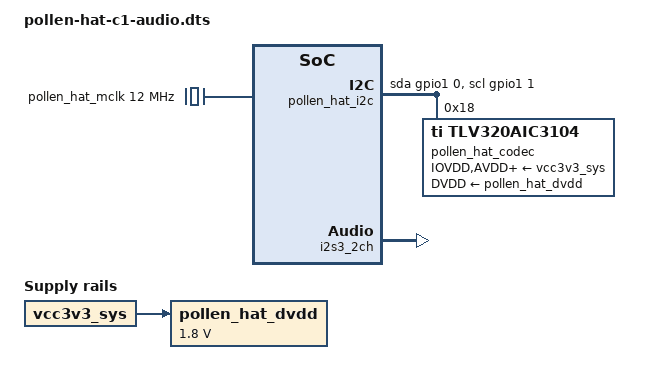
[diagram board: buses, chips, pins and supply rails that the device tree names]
/dts-v1/;
/plugin/;

/* Pollen C1 production schematic, direct stacking on ZERO 3W V1.12.
 * Software I2C: physical pins 3/5. I2S3-M0: 12/35/38/40.
 * Codec MCLK comes from HAT Y1 (12 MHz), not ZERO pin 13.
 */
/ {
    metadata {
        title = "Pollen Robot HAT C1 audio (software I2C + I2S3-M0)";
        compatible = "radxa,zero3";
        category = "audio";
        exclusive = "GPIO1_A0", "GPIO1_A1", "GPIO3_A3", "GPIO3_A4",
                    "GPIO3_A5", "GPIO3_A6", "i2s3_2ch", "i2c3";
        description = "TLV320AIC3104 at 0x18, fixed local 12 MHz MCLK.";
    };

    fragment@0 {
        target = <&pinctrl>;
        __overlay__ {
            pollen-hat {
                pollen_hat_i2c_pins: i2c-pins {
                    rockchip,pins = <1 0 0 &pcfg_pull_up>,
                                    <1 1 0 &pcfg_pull_up>;
                };
            };
        };
    };

    fragment@1 {
        target-path = "/";
        __overlay__ {
            pollen_hat_mclk: pollen-hat-mclk {
                compatible = "fixed-clock";
                #clock-cells = <0>;
                clock-frequency = <12000000>;
            };

            pollen_hat_dvdd: pollen-hat-dvdd {
                compatible = "regulator-fixed";
                regulator-name = "pollen-hat-1v8";
                regulator-min-microvolt = <1800000>;
                regulator-max-microvolt = <1800000>;
                vin-supply = <&vcc3v3_sys>;
                regulator-always-on;
            };

            pollen_hat_i2c: i2c-gpio-pollen-hat {
                compatible = "i2c-gpio";
                #address-cells = <1>;
                #size-cells = <0>;
                pinctrl-names = "default";
                pinctrl-0 = <&pollen_hat_i2c_pins>;
                /* 6 = active-high, single-ended, open-drain. */
                sda-gpios = <&gpio1 0 6>;
                scl-gpios = <&gpio1 1 6>;
                i2c-gpio,delay-us = <10>;
                i2c-gpio,timeout-ms = <100>;
                status = "okay";

                pollen_hat_codec: codec@18 {
                    compatible = "ti,tlv320aic3104";
                    reg = <0x18>;
                    #sound-dai-cells = <0>;
                    clocks = <&pollen_hat_mclk>;
                    IOVDD-supply = <&vcc3v3_sys>;
                    AVDD-supply = <&vcc3v3_sys>;
                    DRVDD-supply = <&vcc3v3_sys>;
                    DVDD-supply = <&pollen_hat_dvdd>;
                    /* External mic bias is provided by C1 R22/R23, not MICBIAS.
                     * RESET is pulled high by C1 R6; driver uses soft reset.
                     */
                    status = "okay";
                };
            };

            pollen-hat-sound {
                compatible = "simple-audio-card";
                simple-audio-card,name = "PollenHATC1";
                simple-audio-card,format = "i2s";
                simple-audio-card,bitclock-master = <&pollen_hat_cpu>;
                simple-audio-card,frame-master = <&pollen_hat_cpu>;
                simple-audio-card,widgets =
                    "Speaker", "Speaker",
                    "Microphone", "External Mic L",
                    "Microphone", "External Mic R",
                    "Microphone", "Onboard Mic";
                simple-audio-card,routing =
                    "Speaker", "LLOUT",
                    "Speaker", "RLOUT",
                    "LINE1L", "External Mic L",
                    "LINE1R", "External Mic R",
                    "MIC2R", "Onboard Mic";

                pollen_hat_cpu: simple-audio-card,cpu {
                    sound-dai = <&i2s3_2ch>;
                    /* Separate from the codec's physical 12 MHz oscillator.
                     * Rockchip's internal master clock must be configured
                     * explicitly so BCLK/LRCK are generated at 48 kHz.
                     * This does not enable/export MCLK on header pin 13.
                     */
                    system-clock-frequency = <12288000>;
                    system-clock-direction-out;
                };

                simple-audio-card,codec {
                    sound-dai = <&pollen_hat_codec>;
                    clocks = <&pollen_hat_mclk>;
                    system-clock-frequency = <12000000>;
                };
            };
        };
    };

    fragment@2 {
        target = <&i2s3_2ch>;
        __overlay__ {
            pinctrl-names = "default";
            pinctrl-0 = <&i2s3m0_sclk &i2s3m0_lrck
                         &i2s3m0_sdi &i2s3m0_sdo>;
            status = "okay";
        };
    };

    /* Same conflict exclusion as Radxa's stock I2S3-M0 overlay. */
    fragment@3 {
        target = <&i2c3>;
        __overlay__ {
            status = "disabled";
        };
    };
};
